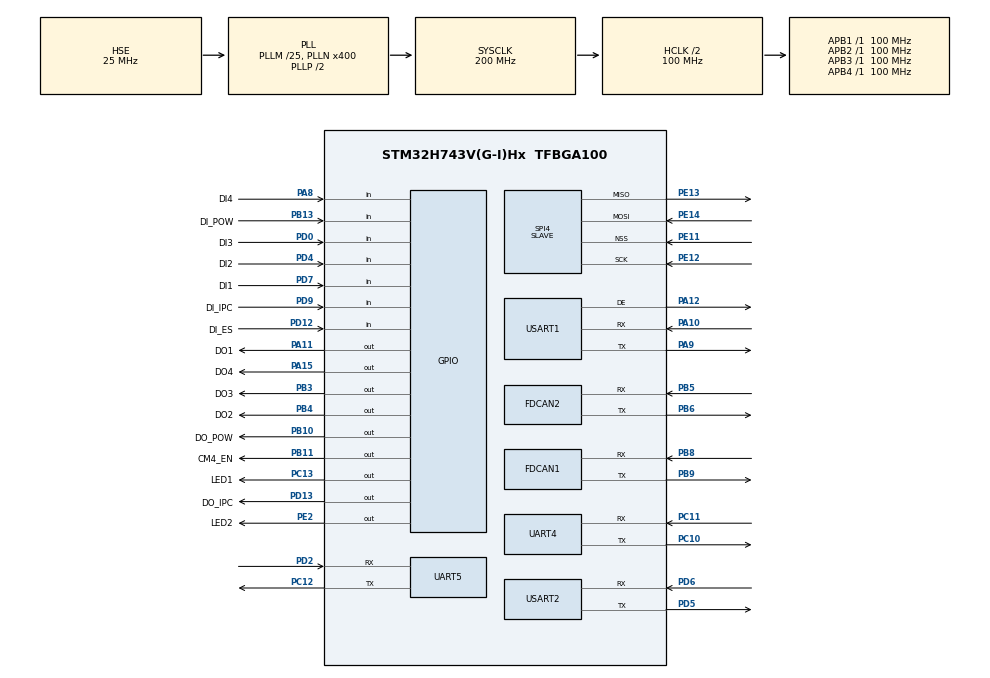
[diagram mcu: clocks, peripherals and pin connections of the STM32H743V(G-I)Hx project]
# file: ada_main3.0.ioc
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FDCAN1.DataPrescaler=5
FDCAN1.DataTimeSeg1=5
FDCAN1.DataTimeSeg2=4
FDCAN1.ExtFiltersNbr=10
FDCAN1.NominalPrescaler=5
FDCAN1.NominalTimeSeg1=5
FDCAN1.NominalTimeSeg2=4
FDCAN1.ProtocolException=DISABLE
FDCAN1.RxFifo0ElmtsNbr=1
FDCAN1.StdFiltersNbr=10
FDCAN1.TxBuffersNbr=0
FDCAN1.TxEventsNbr=0
FDCAN1.TxFifoQueueElmtsNbr=1
FDCAN2.DataPrescaler=5
FDCAN2.DataTimeSeg1=5
FDCAN2.DataTimeSeg2=4
FDCAN2.ExtFiltersNbr=10
FDCAN2.NominalPrescaler=5
FDCAN2.NominalTimeSeg1=5
FDCAN2.NominalTimeSeg2=4
FDCAN2.RxFifo0ElmtsNbr=1
FDCAN2.StdFiltersNbr=10
FDCAN2.TxFifoQueueElmtsNbr=1
Mcu.Family=STM32H7
Mcu.Name=STM32H743V(G-I)Hx
Mcu.Package=TFBGA100
NVIC.FDCAN1_IT0_IRQn=true\:1\:0\:true\:false\:true\:true\:true\:true
NVIC.FDCAN2_IT0_IRQn=true\:2\:0\:true\:false\:true\:true\:true\:true
NVIC.PriorityGroup=NVIC_PRIORITYGROUP_4
NVIC.TIM3_IRQn=true\:3\:0\:true\:false\:true\:true\:true\:true
NVIC.TIM4_IRQn=true\:4\:0\:true\:false\:true\:true\:true\:true
NVIC.USART2_IRQn=true\:0\:0\:false\:false\:true\:true\:true\:true
PA10.Mode=Asynchronous
PA10.Signal=USART1_RX
PA11.GPIO_Label=DO1
PA11.PinState=GPIO_PIN_SET
PA11.Signal=GPIO_Output
PA12.Mode=Hardware Flow Control (RS485)
PA12.Signal=USART1_DE
PA13\ (JTMS/SWDIO).Mode=Serial_Wire
PA13\ (JTMS/SWDIO).Signal=DEBUG_JTMS-SWDIO
PA14\ (JTCK/SWCLK).Mode=Serial_Wire
PA14\ (JTCK/SWCLK).Signal=DEBUG_JTCK-SWCLK
PA15\ (JTDI).GPIO_Label=DO4
PA15\ (JTDI).PinState=GPIO_PIN_SET
PA15\ (JTDI).Signal=GPIO_Output
PA8.GPIO_Label=DI4
PA8.Signal=GPIO_Input
PA9.Mode=Asynchronous
PA9.Signal=USART1_TX
PB10.GPIO_Label=DO_POW
PB10.Signal=GPIO_Output
PB11.GPIO_Label=CM4_EN
PB11.Signal=GPIO_Output
PB13.GPIO_Label=DI_POW
PB13.Signal=GPIO_Input
PB3\ (JTDO/TRACESWO).GPIO_Label=DO3
PB3\ (JTDO/TRACESWO).PinState=GPIO_PIN_SET
PB3\ (JTDO/TRACESWO).Signal=GPIO_Output
PB4\ (NJTRST).GPIO_Label=DO2
PB4\ (NJTRST).PinState=GPIO_PIN_SET
PB4\ (NJTRST).Signal=GPIO_Output
PB5.Mode=FDCAN_Activate
PB5.Signal=FDCAN2_RX
PB6.Mode=FDCAN_Activate
PB6.Signal=FDCAN2_TX
PB8.Mode=FDCAN_Activate
PB8.Signal=FDCAN1_RX
PB9.Mode=FDCAN_Activate
PB9.Signal=FDCAN1_TX
PC0.GPIO_Label=VBUS
PC0.Signal=ADCx_INP10
PC10.Mode=Asynchronous
PC10.Signal=UART4_TX
PC11.Mode=Asynchronous
PC11.Signal=UART4_RX
PC12.Mode=Asynchronous
PC12.Signal=UART5_TX
PC13.GPIO_Label=LED1
PC13.Signal=GPIO_Output
PD0.GPIO_Label=DI3
PD0.Signal=GPIO_Input
PD12.GPIO_Label=DI_ES
PD12.Signal=GPIO_Input
PD13.GPIO_Label=DO_IPC
PD13.Signal=GPIO_Output
PD2.Mode=Asynchronous
PD2.Signal=UART5_RX
PD4.GPIO_Label=DI2
PD4.Signal=GPIO_Input
PD5.Mode=Asynchronous
PD5.Signal=USART2_TX
PD6.Mode=Asynchronous
PD6.Signal=USART2_RX
PD7.GPIO_Label=DI1
PD7.Signal=GPIO_Input
PD9.GPIO_Label=DI_IPC
PD9.Signal=GPIO_Input
PE11.Mode=NSS_Signal_Hard_Input
PE11.Signal=SPI4_NSS
PE12.Mode=Full_Duplex_Slave
PE12.Signal=SPI4_SCK
PE13.Mode=Full_Duplex_Slave
PE13.Signal=SPI4_MISO
PE14.Mode=Full_Duplex_Slave
PE14.Signal=SPI4_MOSI
PE2.GPIO_Label=LED2
PE2.Signal=GPIO_Output
PH0-OSC_IN\ (PH0).Mode=HSE-External-Clock-Source
PH0-OSC_IN\ (PH0).Signal=RCC_OSC_IN
ProjectManager.HeapSize=0x200
ProjectManager.StackSize=0x400
ProjectManager.TargetToolchain=STM32CubeIDE
RCC.ADCFreq_Value=50390625
RCC.APB1Freq_Value=100000000
RCC.APB2Freq_Value=100000000
RCC.APB3Freq_Value=100000000
RCC.APB4Freq_Value=100000000
RCC.CortexFreq_Value=200000000
RCC.DIVM1=25
RCC.DIVN1=400
RCC.DIVQ1=8
RCC.DIVR1=4
RCC.HCLKFreq_Value=100000000
RCC.HPRE=RCC_HCLK_DIV2
RCC.PLLSourceVirtual=RCC_PLLSOURCE_HSE
RCC.SYSCLKFreq_VALUE=200000000
RCC.SYSCLKSource=RCC_SYSCLKSOURCE_PLLCLK
RCC.USBFreq_Value=50000000
SH.ADCx_INP10.0=ADC1_INP10
SPI4.Direction=SPI_DIRECTION_2LINES
SPI4.Mode=SPI_MODE_SLAVE
SPI4.VirtualNSS=VM_NSSHARD
SPI4.VirtualType=VM_SLAVE
TIM3.Period=10-1
TIM3.Prescaler=10000-1
TIM4.Period=5000-1
TIM4.Prescaler=10000-1
USART1.VirtualMode-Asynchronous=VM_ASYNC
USART1.VirtualMode-Hardware\ Flow\ Control\ (RS485)=VM_ASYNC
USART2.VirtualMode-Asynchronous=VM_ASYNC
VP_TIM3_VS_ClockSourceINT.Mode=Internal
VP_TIM4_VS_ClockSourceINT.Mode=Internal
board=custom

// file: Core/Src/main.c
/* USER CODE BEGIN Header */
/**
  ******************************************************************************
  * @file           : main.c
  * @brief          : Main program body
  ******************************************************************************
  * @attention
  *
  * <h2><center>&copy; Copyright (c) 2023 STMicroelectronics.
  * All rights reserved.</center></h2>
  *
  * This software component is licensed by ST under BSD 3-Clause license,
  * the "License"; You may not use this file except in compliance with the
  * License. You may obtain a copy of the License at:
  *                        opensource.org/licenses/BSD-3-Clause
  *
  ******************************************************************************
  */
/* USER CODE END Header */
#include "main.h"

/* USER CODE BEGIN Includes */
#include "stdio.h"
#include "string.h"
/* USER CODE END Includes */

FDCAN_HandleTypeDef hfdcan1;
FDCAN_HandleTypeDef hfdcan2;

SPI_HandleTypeDef hspi4;

TIM_HandleTypeDef htim3;
TIM_HandleTypeDef htim4;

UART_HandleTypeDef huart4;
UART_HandleTypeDef huart5;
UART_HandleTypeDef huart1;
UART_HandleTypeDef huart2;

/* USER CODE BEGIN PV */
//IWDG_HandleTypeDef hiwdg1;

//串口2
uint8_t U2RX=0;
uint8_t U2RxBuff[20];
uint8_t rx2Cnt=0;
uint8_t txLen=0;

////CANFD1
//FDCAN_TxHeaderTypeDef TxHeader;
//FDCAN_RxHeaderTypeDef RxHeader;
//uint8_t TxData[8];
//uint8_t RxData[8];
//void FDCAN1_Config(void);

//CANFD2
FDCAN_TxHeaderTypeDef TxHeader2;
FDCAN_RxHeaderTypeDef RxHeader2;
uint8_t TxData2[8];
uint8_t RxData2[8];
uint8_t RxData2Len=0;
void FDCAN2_Config(void);

Key_Tag skey;

all_state state = S0_IDLE;
uint8_t single_click_flag=0;
uint8_t double_click_flag=0;
uint8_t long_click_flag=0;

/* USER CODE END PV */

void SystemClock_Config(void);
static void MX_GPIO_Init(void);
static void MX_FDCAN1_Init(void);
static void MX_FDCAN2_Init(void);
static void MX_SPI4_Init(void);
static void MX_UART4_Init(void);
static void MX_UART5_Init(void);
static void MX_USART1_UART_Init(void);
static void MX_USART2_UART_Init(void);
static void MX_TIM4_Init(void);
static void MX_TIM3_Init(void);

/* USER CODE BEGIN 0 */

//printf
#ifdef __GNUC__
#define PUTCHAR_PROTOTYPE int __io_putchar(int ch)
PUTCHAR_PROTOTYPE
{
 HAL_UART_Transmit(&huart2, (uint8_t*)&ch, 1, HAL_MAX_DELAY);
 return ch;
}
#endif

/* USER CODE END 0 */

int main(void)
{

  /* MCU Configuration--------------------------------------------------------*/

  /* Reset of all peripherals, Initializes the Flash interface and the Systick. */
  HAL_Init();

  /* Configure the system clock */
  SystemClock_Config();

  /* Initialize all configured peripherals */
  MX_GPIO_Init();
  MX_FDCAN1_Init();
  MX_FDCAN2_Init();
  MX_SPI4_Init();
  MX_UART4_Init();
  MX_UART5_Init();
  MX_USART1_UART_Init();
  MX_USART2_UART_Init();
  MX_TIM4_Init();
  MX_TIM3_Init();
  /* USER CODE BEGIN 2 */

  //FDCAN1_Config();
  FDCAN2_Config();

  HAL_UART_Receive_IT(&huart2,&U2RX,1);
  HAL_TIM_Base_Start_IT(&htim3);
  HAL_TIM_Base_Start_IT(&htim4);

  HAL_GPIO_WritePin(CM4_EN_GPIO_Port, CM4_EN_Pin, 1);//0->1:restart

  DO4_OPEN;

  //***delete HAL_UART_Receive_IT(); __HAL_LOCK(huart)
  /* USER CODE END 2 */

  /* Infinite loop */
  /* USER CODE BEGIN WHILE */
  uint16_t cnt = 0;
  FDCAN_ProtocolStatusTypeDef ProtocolStatus;

  while (1)
  {
	  HAL_Delay(10);

	  key_scan();

	  advance();

	  if(DI4_BUTTON==0)//按钮被按下
	  {
		  //System_Reset();//stm32h7软件复位函数
		  CM4_EN_OPEN;//CM4复位
		  HAL_Delay(10);
		  CM4_EN_CLOSE;
	  }

	  cnt++;
	  if(cnt>=10)
	  {
		  cnt=0;
		  HAL_FDCAN_GetProtocolStatus(&hfdcan2,&ProtocolStatus);
		  if(ProtocolStatus.BusOff==1)
		  {
			  MX_FDCAN2_Init();
			  FDCAN2_Config();
		  }
	  }

    /* USER CODE END WHILE */

  }
}

void SystemClock_Config(void)
{
  RCC_OscInitTypeDef RCC_OscInitStruct = {0};
  RCC_ClkInitTypeDef RCC_ClkInitStruct = {0};
  RCC_PeriphCLKInitTypeDef PeriphClkInitStruct = {0};

  /** Supply configuration update enable
  */
  HAL_PWREx_ConfigSupply(PWR_LDO_SUPPLY);
  /** Configure the main internal regulator output voltage
  */
  __HAL_PWR_VOLTAGESCALING_CONFIG(PWR_REGULATOR_VOLTAGE_SCALE3);

  while(!__HAL_PWR_GET_FLAG(PWR_FLAG_VOSRDY)) {}
  /** Initializes the RCC Oscillators according to the specified parameters
  * in the RCC_OscInitTypeDef structure.
  */
  RCC_OscInitStruct.OscillatorType = RCC_OSCILLATORTYPE_HSE;
  RCC_OscInitStruct.HSEState = RCC_HSE_BYPASS;
  RCC_OscInitStruct.PLL.PLLState = RCC_PLL_ON;
  RCC_OscInitStruct.PLL.PLLSource = RCC_PLLSOURCE_HSE;
  RCC_OscInitStruct.PLL.PLLM = 25;
  RCC_OscInitStruct.PLL.PLLN = 400;
  RCC_OscInitStruct.PLL.PLLP = 2;
  RCC_OscInitStruct.PLL.PLLQ = 8;
  RCC_OscInitStruct.PLL.PLLR = 4;
  RCC_OscInitStruct.PLL.PLLRGE = RCC_PLL1VCIRANGE_0;
  RCC_OscInitStruct.PLL.PLLVCOSEL = RCC_PLL1VCOWIDE;
  RCC_OscInitStruct.PLL.PLLFRACN = 0;
  if (HAL_RCC_OscConfig(&RCC_OscInitStruct) != HAL_OK)
  {
    Error_Handler();
  }
  /** Initializes the CPU, AHB and APB buses clocks
  */
  RCC_ClkInitStruct.ClockType = RCC_CLOCKTYPE_HCLK|RCC_CLOCKTYPE_SYSCLK
                              |RCC_CLOCKTYPE_PCLK1|RCC_CLOCKTYPE_PCLK2
                              |RCC_CLOCKTYPE_D3PCLK1|RCC_CLOCKTYPE_D1PCLK1;
  RCC_ClkInitStruct.SYSCLKSource = RCC_SYSCLKSOURCE_PLLCLK;
  RCC_ClkInitStruct.SYSCLKDivider = RCC_SYSCLK_DIV1;
  RCC_ClkInitStruct.AHBCLKDivider = RCC_HCLK_DIV2;
  RCC_ClkInitStruct.APB3CLKDivider = RCC_APB3_DIV1;
  RCC_ClkInitStruct.APB1CLKDivider = RCC_APB1_DIV1;
  RCC_ClkInitStruct.APB2CLKDivider = RCC_APB2_DIV1;
  RCC_ClkInitStruct.APB4CLKDivider = RCC_APB4_DIV1;

  if (HAL_RCC_ClockConfig(&RCC_ClkInitStruct, FLASH_LATENCY_1) != HAL_OK)
  {
    Error_Handler();
  }
  PeriphClkInitStruct.PeriphClockSelection = RCC_PERIPHCLK_USART2|RCC_PERIPHCLK_UART4
                              |RCC_PERIPHCLK_FDCAN|RCC_PERIPHCLK_USART1
                              |RCC_PERIPHCLK_UART5|RCC_PERIPHCLK_SPI4;
  PeriphClkInitStruct.Spi45ClockSelection = RCC_SPI45CLKSOURCE_D2PCLK1;
  PeriphClkInitStruct.FdcanClockSelection = RCC_FDCANCLKSOURCE_PLL;
  PeriphClkInitStruct.Usart234578ClockSelection = RCC_USART234578CLKSOURCE_D2PCLK1;
  PeriphClkInitStruct.Usart16ClockSelection = RCC_USART16CLKSOURCE_D2PCLK2;
  if (HAL_RCCEx_PeriphCLKConfig(&PeriphClkInitStruct) != HAL_OK)
  {
    Error_Handler();
  }
}

static void MX_FDCAN1_Init(void)
{

  /* USER CODE BEGIN FDCAN1_Init 1 */

  //娉㈢壒鐜囪绠楀叕锟�???????????????
  //BaudRate = CLK / ((DTSEG1+DTSEG2 + 1) * DBPR)
  //CLK=50MHz銆丏TSEG1=5銆丏TSEG2=4銆丏BPR=5銆丅audRate=1M
  /* USER CODE END FDCAN1_Init 1 */
  hfdcan1.Instance = FDCAN1;
  hfdcan1.Init.FrameFormat = FDCAN_FRAME_CLASSIC;
  hfdcan1.Init.Mode = FDCAN_MODE_NORMAL;
  hfdcan1.Init.AutoRetransmission = DISABLE;
  hfdcan1.Init.TransmitPause = DISABLE;
  hfdcan1.Init.ProtocolException = DISABLE;
  hfdcan1.Init.NominalPrescaler = 5;
  hfdcan1.Init.NominalSyncJumpWidth = 1;
  hfdcan1.Init.NominalTimeSeg1 = 5;
  hfdcan1.Init.NominalTimeSeg2 = 4;
  hfdcan1.Init.DataPrescaler = 5;
  hfdcan1.Init.DataSyncJumpWidth = 1;
  hfdcan1.Init.DataTimeSeg1 = 5;
  hfdcan1.Init.DataTimeSeg2 = 4;
  hfdcan1.Init.MessageRAMOffset = 0;
  hfdcan1.Init.StdFiltersNbr = 10;
  hfdcan1.Init.ExtFiltersNbr = 10;
  hfdcan1.Init.RxFifo0ElmtsNbr = 1;
  hfdcan1.Init.RxFifo0ElmtSize = FDCAN_DATA_BYTES_8;
  hfdcan1.Init.RxFifo1ElmtsNbr = 0;
  hfdcan1.Init.RxFifo1ElmtSize = FDCAN_DATA_BYTES_8;
  hfdcan1.Init.RxBuffersNbr = 0;
  hfdcan1.Init.RxBufferSize = FDCAN_DATA_BYTES_8;
  hfdcan1.Init.TxEventsNbr = 0;
  hfdcan1.Init.TxBuffersNbr = 0;
  hfdcan1.Init.TxFifoQueueElmtsNbr = 1;
  hfdcan1.Init.TxFifoQueueMode = FDCAN_TX_FIFO_OPERATION;
  hfdcan1.Init.TxElmtSize = FDCAN_DATA_BYTES_8;
  if (HAL_FDCAN_Init(&hfdcan1) != HAL_OK)
  {
    Error_Handler();
  }

}

static void MX_FDCAN2_Init(void)
{

  hfdcan2.Instance = FDCAN2;
  hfdcan2.Init.FrameFormat = FDCAN_FRAME_CLASSIC;
  hfdcan2.Init.Mode = FDCAN_MODE_NORMAL;
  hfdcan2.Init.AutoRetransmission = DISABLE;
  hfdcan2.Init.TransmitPause = DISABLE;
  hfdcan2.Init.ProtocolException = DISABLE;
  hfdcan2.Init.NominalPrescaler = 50;
  hfdcan2.Init.NominalSyncJumpWidth = 1;
  hfdcan2.Init.NominalTimeSeg1 = 5;
  hfdcan2.Init.NominalTimeSeg2 = 4;
  hfdcan2.Init.DataPrescaler = 5;
  hfdcan2.Init.DataSyncJumpWidth = 1;
  hfdcan2.Init.DataTimeSeg1 = 5;
  hfdcan2.Init.DataTimeSeg2 = 4;
  hfdcan2.Init.MessageRAMOffset = 0;
  hfdcan2.Init.StdFiltersNbr = 10;
  hfdcan2.Init.ExtFiltersNbr = 10;
  hfdcan2.Init.RxFifo0ElmtsNbr = 1;
  hfdcan2.Init.RxFifo0ElmtSize = FDCAN_DATA_BYTES_8;
  hfdcan2.Init.RxFifo1ElmtsNbr = 0;
  hfdcan2.Init.RxFifo1ElmtSize = FDCAN_DATA_BYTES_8;
  hfdcan2.Init.RxBuffersNbr = 0;
  hfdcan2.Init.RxBufferSize = FDCAN_DATA_BYTES_8;
  hfdcan2.Init.TxEventsNbr = 0;
  hfdcan2.Init.TxBuffersNbr = 0;
  hfdcan2.Init.TxFifoQueueElmtsNbr = 1;
  hfdcan2.Init.TxFifoQueueMode = FDCAN_TX_FIFO_OPERATION;
  hfdcan2.Init.TxElmtSize = FDCAN_DATA_BYTES_8;
  if (HAL_FDCAN_Init(&hfdcan2) != HAL_OK)
  {
    Error_Handler();
  }

}

static void MX_SPI4_Init(void)
{

  /* SPI4 parameter configuration*/
  hspi4.Instance = SPI4;
  hspi4.Init.Mode = SPI_MODE_SLAVE;
  hspi4.Init.Direction = SPI_DIRECTION_2LINES;
  hspi4.Init.DataSize = SPI_DATASIZE_4BIT;
  hspi4.Init.CLKPolarity = SPI_POLARITY_LOW;
  hspi4.Init.CLKPhase = SPI_PHASE_1EDGE;
  hspi4.Init.NSS = SPI_NSS_HARD_INPUT;
  hspi4.Init.FirstBit = SPI_FIRSTBIT_MSB;
  hspi4.Init.TIMode = SPI_TIMODE_DISABLE;
  hspi4.Init.CRCCalculation = SPI_CRCCALCULATION_DISABLE;
  hspi4.Init.CRCPolynomial = 0x0;
  hspi4.Init.NSSPMode = SPI_NSS_PULSE_DISABLE;
  hspi4.Init.NSSPolarity = SPI_NSS_POLARITY_LOW;
  hspi4.Init.FifoThreshold = SPI_FIFO_THRESHOLD_01DATA;
  hspi4.Init.TxCRCInitializationPattern = SPI_CRC_INITIALIZATION_ALL_ZERO_PATTERN;
  hspi4.Init.RxCRCInitializationPattern = SPI_CRC_INITIALIZATION_ALL_ZERO_PATTERN;
  hspi4.Init.MasterSSIdleness = SPI_MASTER_SS_IDLENESS_00CYCLE;
  hspi4.Init.MasterInterDataIdleness = SPI_MASTER_INTERDATA_IDLENESS_00CYCLE;
  hspi4.Init.MasterReceiverAutoSusp = SPI_MASTER_RX_AUTOSUSP_DISABLE;
  hspi4.Init.MasterKeepIOState = SPI_MASTER_KEEP_IO_STATE_DISABLE;
  hspi4.Init.IOSwap = SPI_IO_SWAP_DISABLE;
  if (HAL_SPI_Init(&hspi4) != HAL_OK)
  {
    Error_Handler();
  }

}

static void MX_TIM3_Init(void)
{

  TIM_ClockConfigTypeDef sClockSourceConfig = {0};
  TIM_MasterConfigTypeDef sMasterConfig = {0};

  /* USER CODE BEGIN TIM3_Init 1 */
  //鍛ㄦ湡锛滱PB1 Timer Clocks/Prescaler/Period
  //APB1 Timer Clocks=100MHz銆丳rescaler=10000銆丳eriod=5000銆佸懆锟�??=1/(100M/10000/100)=1ms
  /* USER CODE END TIM3_Init 1 */
  htim3.Instance = TIM3;
  htim3.Init.Prescaler = 10000-1;
  htim3.Init.CounterMode = TIM_COUNTERMODE_UP;
  htim3.Init.Period = 10-1;
  htim3.Init.ClockDivision = TIM_CLOCKDIVISION_DIV1;
  htim3.Init.AutoReloadPreload = TIM_AUTORELOAD_PRELOAD_DISABLE;
  if (HAL_TIM_Base_Init(&htim3) != HAL_OK)
  {
    Error_Handler();
  }
  sClockSourceConfig.ClockSource = TIM_CLOCKSOURCE_INTERNAL;
  if (HAL_TIM_ConfigClockSource(&htim3, &sClockSourceConfig) != HAL_OK)
  {
    Error_Handler();
  }
  sMasterConfig.MasterOutputTrigger = TIM_TRGO_RESET;
  sMasterConfig.MasterSlaveMode = TIM_MASTERSLAVEMODE_DISABLE;
  if (HAL_TIMEx_MasterConfigSynchronization(&htim3, &sMasterConfig) != HAL_OK)
  {
    Error_Handler();
  }

}

static void MX_TIM4_Init(void)
{

  TIM_ClockConfigTypeDef sClockSourceConfig = {0};
  TIM_MasterConfigTypeDef sMasterConfig = {0};

  /* USER CODE BEGIN TIM4_Init 1 */
  //鍛ㄦ湡锛滱PB1 Timer Clocks/Prescaler/Period
  //APB1 Timer Clocks=100MHz銆丳rescaler=10000銆丳eriod=5000銆佸懆锟�????????????=1/(100M/10000/5000)=500ms
  /* USER CODE END TIM4_Init 1 */
  htim4.Instance = TIM4;
  htim4.Init.Prescaler = 10000-1;
  htim4.Init.CounterMode = TIM_COUNTERMODE_UP;
  htim4.Init.Period = 5000-1;
  htim4.Init.ClockDivision = TIM_CLOCKDIVISION_DIV1;
  htim4.Init.AutoReloadPreload = TIM_AUTORELOAD_PRELOAD_DISABLE;
  if (HAL_TIM_Base_Init(&htim4) != HAL_OK)
  {
    Error_Handler();
  }
  sClockSourceConfig.ClockSource = TIM_CLOCKSOURCE_INTERNAL;
  if (HAL_TIM_ConfigClockSource(&htim4, &sClockSourceConfig) != HAL_OK)
  {
    Error_Handler();
  }
  sMasterConfig.MasterOutputTrigger = TIM_TRGO_RESET;
  sMasterConfig.MasterSlaveMode = TIM_MASTERSLAVEMODE_DISABLE;
  if (HAL_TIMEx_MasterConfigSynchronization(&htim4, &sMasterConfig) != HAL_OK)
  {
    Error_Handler();
  }

}

static void MX_UART4_Init(void)
{

  huart4.Instance = UART4;
  huart4.Init.BaudRate = 115200;
  huart4.Init.WordLength = UART_WORDLENGTH_8B;
  huart4.Init.StopBits = UART_STOPBITS_1;
  huart4.Init.Parity = UART_PARITY_NONE;
  huart4.Init.Mode = UART_MODE_TX_RX;
  huart4.Init.HwFlowCtl = UART_HWCONTROL_NONE;
  huart4.Init.OverSampling = UART_OVERSAMPLING_16;
  huart4.Init.OneBitSampling = UART_ONE_BIT_SAMPLE_DISABLE;
  huart4.Init.ClockPrescaler = UART_PRESCALER_DIV1;
  huart4.AdvancedInit.AdvFeatureInit = UART_ADVFEATURE_NO_INIT;
  if (HAL_UART_Init(&huart4) != HAL_OK)
  {
    Error_Handler();
  }
  if (HAL_UARTEx_SetTxFifoThreshold(&huart4, UART_TXFIFO_THRESHOLD_1_8) != HAL_OK)
  {
    Error_Handler();
  }
  if (HAL_UARTEx_SetRxFifoThreshold(&huart4, UART_RXFIFO_THRESHOLD_1_8) != HAL_OK)
  {
    Error_Handler();
  }
  if (HAL_UARTEx_DisableFifoMode(&huart4) != HAL_OK)
  {
    Error_Handler();
  }

}

static void MX_UART5_Init(void)
{

  huart5.Instance = UART5;
  huart5.Init.BaudRate = 115200;
  huart5.Init.WordLength = UART_WORDLENGTH_8B;
  huart5.Init.StopBits = UART_STOPBITS_1;
  huart5.Init.Parity = UART_PARITY_NONE;
  huart5.Init.Mode = UART_MODE_TX_RX;
  huart5.Init.HwFlowCtl = UART_HWCONTROL_NONE;
  huart5.Init.OverSampling = UART_OVERSAMPLING_16;
  huart5.Init.OneBitSampling = UART_ONE_BIT_SAMPLE_DISABLE;
  huart5.Init.ClockPrescaler = UART_PRESCALER_DIV1;
  huart5.AdvancedInit.AdvFeatureInit = UART_ADVFEATURE_NO_INIT;
  if (HAL_UART_Init(&huart5) != HAL_OK)
  {
    Error_Handler();
  }
  if (HAL_UARTEx_SetTxFifoThreshold(&huart5, UART_TXFIFO_THRESHOLD_1_8) != HAL_OK)
  {
    Error_Handler();
  }
  if (HAL_UARTEx_SetRxFifoThreshold(&huart5, UART_RXFIFO_THRESHOLD_1_8) != HAL_OK)
  {
    Error_Handler();
  }
  if (HAL_UARTEx_DisableFifoMode(&huart5) != HAL_OK)
  {
    Error_Handler();
  }

}

static void MX_USART1_UART_Init(void)
{

  huart1.Instance = USART1;
  huart1.Init.BaudRate = 115200;
  huart1.Init.WordLength = UART_WORDLENGTH_8B;
  huart1.Init.StopBits = UART_STOPBITS_1;
  huart1.Init.Parity = UART_PARITY_NONE;
  huart1.Init.Mode = UART_MODE_TX_RX;
  huart1.Init.HwFlowCtl = UART_HWCONTROL_NONE;
  huart1.Init.OverSampling = UART_OVERSAMPLING_16;
  huart1.Init.OneBitSampling = UART_ONE_BIT_SAMPLE_DISABLE;
  huart1.Init.ClockPrescaler = UART_PRESCALER_DIV1;
  huart1.AdvancedInit.AdvFeatureInit = UART_ADVFEATURE_NO_INIT;
  if (HAL_RS485Ex_Init(&huart1, UART_DE_POLARITY_HIGH, 0, 0) != HAL_OK)
  {
    Error_Handler();
  }
  if (HAL_UARTEx_SetTxFifoThreshold(&huart1, UART_TXFIFO_THRESHOLD_1_8) != HAL_OK)
  {
    Error_Handler();
  }
  if (HAL_UARTEx_SetRxFifoThreshold(&huart1, UART_RXFIFO_THRESHOLD_1_8) != HAL_OK)
  {
    Error_Handler();
  }
  if (HAL_UARTEx_DisableFifoMode(&huart1) != HAL_OK)
  {
    Error_Handler();
  }

}

static void MX_USART2_UART_Init(void)
{

  huart2.Instance = USART2;
  huart2.Init.BaudRate = 115200;
  huart2.Init.WordLength = UART_WORDLENGTH_8B;
  huart2.Init.StopBits = UART_STOPBITS_1;
  huart2.Init.Parity = UART_PARITY_NONE;
  huart2.Init.Mode = UART_MODE_TX_RX;
  huart2.Init.HwFlowCtl = UART_HWCONTROL_NONE;
  huart2.Init.OverSampling = UART_OVERSAMPLING_16;
  huart2.Init.OneBitSampling = UART_ONE_BIT_SAMPLE_DISABLE;
  huart2.Init.ClockPrescaler = UART_PRESCALER_DIV1;
  huart2.AdvancedInit.AdvFeatureInit = UART_ADVFEATURE_NO_INIT;
  if (HAL_UART_Init(&huart2) != HAL_OK)
  {
    Error_Handler();
  }
  if (HAL_UARTEx_SetTxFifoThreshold(&huart2, UART_TXFIFO_THRESHOLD_1_8) != HAL_OK)
  {
    Error_Handler();
  }
  if (HAL_UARTEx_SetRxFifoThreshold(&huart2, UART_RXFIFO_THRESHOLD_1_8) != HAL_OK)
  {
    Error_Handler();
  }
  if (HAL_UARTEx_DisableFifoMode(&huart2) != HAL_OK)
  {
    Error_Handler();
  }

}

static void MX_GPIO_Init(void)
{
  GPIO_InitTypeDef GPIO_InitStruct = {0};

  /* GPIO Ports Clock Enable */
  __HAL_RCC_GPIOC_CLK_ENABLE();
  __HAL_RCC_GPIOE_CLK_ENABLE();
  __HAL_RCC_GPIOB_CLK_ENABLE();
  __HAL_RCC_GPIOA_CLK_ENABLE();
  __HAL_RCC_GPIOD_CLK_ENABLE();
  __HAL_RCC_GPIOH_CLK_ENABLE();

  /*Configure GPIO pin Output Level */
  HAL_GPIO_WritePin(LED1_GPIO_Port, LED1_Pin, GPIO_PIN_RESET);

  /*Configure GPIO pin Output Level */
  HAL_GPIO_WritePin(LED2_GPIO_Port, LED2_Pin, GPIO_PIN_RESET);

  /*Configure GPIO pin Output Level */
  HAL_GPIO_WritePin(GPIOB, DO2_Pin|DO3_Pin, GPIO_PIN_SET);

  /*Configure GPIO pin Output Level */
  HAL_GPIO_WritePin(GPIOA, DO4_Pin|DO1_Pin, GPIO_PIN_SET);

  /*Configure GPIO pin Output Level */
  HAL_GPIO_WritePin(GPIOB, DO_POW_Pin|CM4_EN_Pin, GPIO_PIN_RESET);

  /*Configure GPIO pin Output Level */
  HAL_GPIO_WritePin(DO_IPC_GPIO_Port, DO_IPC_Pin, GPIO_PIN_RESET);

  /*Configure GPIO pin : LED1_Pin */
  GPIO_InitStruct.Pin = LED1_Pin;
  GPIO_InitStruct.Mode = GPIO_MODE_OUTPUT_PP;
  GPIO_InitStruct.Pull = GPIO_NOPULL;
  GPIO_InitStruct.Speed = GPIO_SPEED_FREQ_LOW;
  HAL_GPIO_Init(LED1_GPIO_Port, &GPIO_InitStruct);

  /*Configure GPIO pin : LED2_Pin */
  GPIO_InitStruct.Pin = LED2_Pin;
  GPIO_InitStruct.Mode = GPIO_MODE_OUTPUT_PP;
  GPIO_InitStruct.Pull = GPIO_NOPULL;
  GPIO_InitStruct.Speed = GPIO_SPEED_FREQ_LOW;
  HAL_GPIO_Init(LED2_GPIO_Port, &GPIO_InitStruct);

  /*Configure GPIO pins : DO2_Pin DO3_Pin DO_POW_Pin CM4_EN_Pin */
  GPIO_InitStruct.Pin = DO2_Pin|DO3_Pin|DO_POW_Pin|CM4_EN_Pin;
  GPIO_InitStruct.Mode = GPIO_MODE_OUTPUT_PP;
  GPIO_InitStruct.Pull = GPIO_NOPULL;
  GPIO_InitStruct.Speed = GPIO_SPEED_FREQ_LOW;
  HAL_GPIO_Init(GPIOB, &GPIO_InitStruct);

  /*Configure GPIO pins : DO4_Pin DO1_Pin */
  GPIO_InitStruct.Pin = DO4_Pin|DO1_Pin;
  GPIO_InitStruct.Mode = GPIO_MODE_OUTPUT_PP;
  GPIO_InitStruct.Pull = GPIO_NOPULL;
  GPIO_InitStruct.Speed = GPIO_SPEED_FREQ_LOW;
  HAL_GPIO_Init(GPIOA, &GPIO_InitStruct);

  /*Configure GPIO pins : DI1_Pin DI2_Pin DI3_Pin DI_IPC_Pin
                           DI_ES_Pin */
  GPIO_InitStruct.Pin = DI1_Pin|DI2_Pin|DI3_Pin|DI_IPC_Pin
                          |DI_ES_Pin;
  GPIO_InitStruct.Mode = GPIO_MODE_INPUT;
  GPIO_InitStruct.Pull = GPIO_NOPULL;
  HAL_GPIO_Init(GPIOD, &GPIO_InitStruct);

  /*Configure GPIO pin : DI4_Pin */
  GPIO_InitStruct.Pin = DI4_Pin;
  GPIO_InitStruct.Mode = GPIO_MODE_INPUT;
  GPIO_InitStruct.Pull = GPIO_NOPULL;
  HAL_GPIO_Init(DI4_GPIO_Port, &GPIO_InitStruct);

  /*Configure GPIO pin : VBUS_Pin */
  GPIO_InitStruct.Pin = VBUS_Pin;
  GPIO_InitStruct.Mode = GPIO_MODE_ANALOG;
  GPIO_InitStruct.Pull = GPIO_NOPULL;
  HAL_GPIO_Init(VBUS_GPIO_Port, &GPIO_InitStruct);

  /*Configure GPIO pin : DI_POW_Pin */
  GPIO_InitStruct.Pin = DI_POW_Pin;
  GPIO_InitStruct.Mode = GPIO_MODE_INPUT;
  GPIO_InitStruct.Pull = GPIO_NOPULL;
  HAL_GPIO_Init(DI_POW_GPIO_Port, &GPIO_InitStruct);

  /*Configure GPIO pin : DO_IPC_Pin */
  GPIO_InitStruct.Pin = DO_IPC_Pin;
  GPIO_InitStruct.Mode = GPIO_MODE_OUTPUT_PP;
  GPIO_InitStruct.Pull = GPIO_NOPULL;
  GPIO_InitStruct.Speed = GPIO_SPEED_FREQ_LOW;
  HAL_GPIO_Init(DO_IPC_GPIO_Port, &GPIO_InitStruct);

}

/* USER CODE BEGIN 4 */
uint8_t control_buf[1];
void advance()
{
	//control_buf[0]=state;
	switch(state){

		case S0_IDLE:
			S0_idle_action();

			break;

		case S1_STOP:
			S1_stop_action();

			break;

		case S2_RUN:
			S2_run_action();

			break;

		case S3_ERROR:
			S3_error_action();

			break;

		default:
			break;
	}
}

uint8_t greenLed_twinkle=0;
uint8_t redLed_twinkle=0;
void S0_idle_action(void)//待机状�??
{
	POW_CLOSE;//48V断电

	allLed_close();//灯灭
	if(single_click_flag==1)
	{
		clear_allclick_flag();
		state=S1_STOP;
	}
//	else if(DI3_BUTTON==0)
//	{
//		//CM4复位
//	}
}

void S1_stop_action(void)//停止状�??
{
	POW_OPEN;//48V上电
	green_light();//绿灯�?
	if(single_click_flag==1)
	{
		clear_allclick_flag();
		state=S2_RUN;
	}
	if(long_click_flag==1)
	{
		clear_allclick_flag();
		state=S0_IDLE;
	}
//	if(double_click_flag==1)
//	{
//		double_click_flag=0;
//		LED2_T;
//		//示教模式
//		greenRed_twinkle();//红绿灯闪
//
//	}
}

void S2_run_action(void)//运行状�??
{
	green_twinkle();//绿灯�?
	if(STOP_KEY==0)//停止按钮按下
	{
		state=S1_STOP;
	}
//	else if()
//	{
//	    red_twinkle();红灯�?
//	    state=S1_STOP;
//	}
}

void S3_error_action(void)//错误状�??
{

}

void clear_allclick_flag()
{
	single_click_flag=0;
	double_click_flag=0;
	long_click_flag=0;
}

void green_light()//绿灯�?
{
	RUN_LED_OPEN;
	//STOP_LED_CLOSE;
	redLed_twinkle=0;
	greenLed_twinkle=0;
}

void red_light()//红灯�?
{
	RUN_LED_CLOSE;
	//STOP_LED_OPEN;
	redLed_twinkle=0;
	greenLed_twinkle=0;
}

void green_twinkle()//绿灯�?
{
	//STOP_LED_CLOSE;
	redLed_twinkle=0;
	greenLed_twinkle=1;
}

void red_twinkle()//红灯�?
{
	RUN_LED_CLOSE;
	redLed_twinkle=1;
	greenLed_twinkle=0;
}

void greenRed_twinkle()//红绿灯闪
{
	redLed_twinkle=1;
	greenLed_twinkle=1;
}

void allLed_close()//灯灭
{
	RUN_LED_CLOSE;
	//STOP_LED_CLOSE;
	redLed_twinkle=0;
	greenLed_twinkle=0;
}

void decode(uint8_t *data,uint8_t len)
{
	if(len!=4)
	{
		return;
	}
	if(data[0]!=0)
	{
		RUN_LED_CLOSE;	//240308 add
		STOP_LED_OPEN;//红灯亮代表错�?
	}
	else
	{
		RUN_LED_OPEN;	//240308 add
		STOP_LED_CLOSE;
	}

	CAN2_MESSAGE_TX(&data[1]);//取地�?�?后发8个字�?
}
//串口2中断回调函数
uint8_t flag80=0;
void HAL_UART_RxCpltCallback(UART_HandleTypeDef *huart)
{
	//DO3_T;
	if(huart->Instance == huart2.Instance)
	{
		if(flag80)
		{
			flag80 = 0;
			switch(U2RX)
			{
				case 0x00:
					U2RxBuff[rx2Cnt++] = 0x80;
					break;

				case 0xFF:
					rx2Cnt=0;
					break;

				case 0xFE:
					//DO4_T;
					decode(U2RxBuff,rx2Cnt);
					rx2Cnt=0;
					break;

				default:
					break;
			}
		}
		else if(U2RX==0x80)
		{
			flag80 = 1;
		}
		else// if(wait_end)
		{
			U2RxBuff[rx2Cnt++] = U2RX;
			if(rx2Cnt>15) rx2Cnt=0;
		}
	}
	HAL_UART_Receive_IT(&huart2, &U2RX, 1);
}

////FDCAN1配置函数
//void FDCAN1_Config(void)
//{
//  FDCAN_FilterTypeDef sFilterConfig;
//
//  /* Configure Rx filter 鎺ユ敹璁剧疆锛岃繖閲屾寚瀹氭帴鏀剁殑CANID*/
//  sFilterConfig.IdType = FDCAN_EXTENDED_ID;
//  sFilterConfig.FilterIndex = 0;
//  sFilterConfig.FilterType = FDCAN_FILTER_MASK;
//  sFilterConfig.FilterConfig = FDCAN_FILTER_TO_RXFIFO0;
//  sFilterConfig.FilterID1 = 20000;
//  sFilterConfig.FilterID2 = 0xFF;
//  if (HAL_FDCAN_ConfigFilter(&hfdcan1, &sFilterConfig) != HAL_OK)
//  {
//    Error_Handler();
//  }
//  /* Configure global filter:
//     Filter all remote frames with STD and EXT ID
//     Reject non matching frames with STD ID and EXT ID */
//  if (HAL_FDCAN_ConfigGlobalFilter(&hfdcan1, FDCAN_REJECT, FDCAN_REJECT, FDCAN_FILTER_REMOTE, FDCAN_FILTER_REMOTE) != HAL_OK)
//  {
//    Error_Handler();
//  }
//
//  /* Start the FDCAN module */
//  if (HAL_FDCAN_Start(&hfdcan1) != HAL_OK)
//  {
//    Error_Handler();
//  }
//
//  if (HAL_FDCAN_ActivateNotification(&hfdcan1, FDCAN_IT_RX_FIFO0_NEW_MESSAGE, 0) != HAL_OK)
//  {
//    Error_Handler();
//  }
//}

//FDCAN2配置函数
void FDCAN2_Config(void)
{
  FDCAN_FilterTypeDef sFilterConfig;

  /* Configure Rx filter 鎺ユ敹璁剧疆锛岃繖閲屾寚瀹氭帴鏀剁殑CANID*/
  sFilterConfig.IdType = FDCAN_EXTENDED_ID;
  sFilterConfig.FilterIndex = 0;
  sFilterConfig.FilterType = FDCAN_FILTER_MASK;
  sFilterConfig.FilterConfig = FDCAN_FILTER_TO_RXFIFO0;
  sFilterConfig.FilterID1 = 20000;
  sFilterConfig.FilterID2 = 0xFF;
  if (HAL_FDCAN_ConfigFilter(&hfdcan2, &sFilterConfig) != HAL_OK)
  {
    Error_Handler();
  }
  /* Configure global filter:
     Filter all remote frames with STD and EXT ID
     Reject non matching frames with STD ID and EXT ID */
  if (HAL_FDCAN_ConfigGlobalFilter(&hfdcan2, FDCAN_REJECT, FDCAN_REJECT, FDCAN_FILTER_REMOTE, FDCAN_FILTER_REMOTE) != HAL_OK)
  {
    Error_Handler();
  }

  /* Start the FDCAN module */
  if (HAL_FDCAN_Start(&hfdcan2) != HAL_OK)
  {
    Error_Handler();
  }

  if (HAL_FDCAN_ActivateNotification(&hfdcan2, FDCAN_IT_RX_FIFO0_NEW_MESSAGE, 0) != HAL_OK)
  {
    Error_Handler();
  }
}

////CANFD1 send
//void CAN_MESSAGE_TX(uint8_t *_DataBuf)
//{
//	TxHeader.Identifier = 20000;
//	TxHeader.IdType = FDCAN_EXTENDED_ID;
//	TxHeader.TxFrameType = FDCAN_DATA_FRAME;
//	TxHeader.DataLength = FDCAN_DLC_BYTES_8;
//	TxHeader.ErrorStateIndicator = FDCAN_ESI_ACTIVE;
//	TxHeader.BitRateSwitch = FDCAN_BRS_OFF;
//	TxHeader.FDFormat = FDCAN_CLASSIC_CAN;
//	TxHeader.TxEventFifoControl = FDCAN_NO_TX_EVENTS;
//	TxHeader.MessageMarker = 0;
//
//	if(HAL_FDCAN_AddMessageToTxFifoQ(&hfdcan1, &TxHeader, _DataBuf) != HAL_OK)
//	{
//		LED2_T;
//		//Error_Handler();
//	}
//}

//CANFD2 send
void CAN2_MESSAGE_TX(uint8_t *_DataBuf2)
{
	TxHeader2.Identifier = 20000;
	TxHeader2.IdType = FDCAN_EXTENDED_ID;
	TxHeader2.TxFrameType = FDCAN_DATA_FRAME;
	TxHeader2.DataLength = FDCAN_DLC_BYTES_8;
	TxHeader2.ErrorStateIndicator = FDCAN_ESI_ACTIVE;
	TxHeader2.BitRateSwitch = FDCAN_BRS_OFF;
	TxHeader2.FDFormat = FDCAN_CLASSIC_CAN;
	TxHeader2.TxEventFifoControl = FDCAN_NO_TX_EVENTS;
	TxHeader2.MessageMarker = 0;

	if(HAL_FDCAN_AddMessageToTxFifoQ(&hfdcan2, &TxHeader2, _DataBuf2) != HAL_OK)
	{
		//LED2_T;
		//Error_Handler();
	}

}
//CAN中断接收回调函数
uint8_t head_buf[2]={0x80,0xFF};
uint8_t end_buf[2]={0x80,0xFE};
uint8_t special_buf[2]={0x80,0x00};
void HAL_FDCAN_RxFifo0Callback(FDCAN_HandleTypeDef *hfdcan, uint32_t RxFifo0ITs)
{
  if((RxFifo0ITs & FDCAN_IT_RX_FIFO0_NEW_MESSAGE) != RESET)
  {
//	  if(hfdcan == &hfdcan1)//CANFD1中断
//	  {
//		  HAL_FDCAN_GetRxMessage(&hfdcan1,FDCAN_RX_FIFO0,&RxHeader,RxData);
//
//		  HAL_UART_Transmit(&huart2, (uint8_t *)RxData,2,0xFFFF);
//
//		  HAL_FDCAN_ActivateNotification(&hfdcan1,FDCAN_IT_RX_FIFO0_NEW_MESSAGE,0);
//	  }
	  if(hfdcan == &hfdcan2)//CANFD2中断
	  {
		  HAL_FDCAN_GetRxMessage(&hfdcan2,FDCAN_RX_FIFO0,&RxHeader2,RxData2);

		  HAL_UART_Transmit(&huart2, (uint8_t *)head_buf,2,0xFFFF);//

		  if(RUN_KEY == 0)				//240308 add KEY1
			  control_buf[0] &= 0xFE;
		  else
			  control_buf[0] |= 0x01;

		  if(STOP_KEY == 0)				//240308 add KEY2
			  control_buf[0] &= 0xFD;
		  else
			  control_buf[0] |= 0x02;

		  if(DI3_BUTTON == 0)			//240308 add KEY3
			  control_buf[0] &= 0xFB;
		  else
			  control_buf[0] |= 0x04;

		  if(DI4_BUTTON == 0)			//240308 add KEY4
			  control_buf[0] &= 0xF7;
		  else
			  control_buf[0] |= 0x08;

		  if(DI_POW == 0)				//240308 add POW
			  control_buf[0] &= 0xEF;
		  else
			  control_buf[0] |= 0x10;

		  if(DI_IPC == 0)				//240308 add IPC/POW2
			  control_buf[0] &= 0xDF;
		  else
			  control_buf[0] |= 0x20;

		  if(DI_ES == 0)				//240308 add ES
			  control_buf[0] &= 0xBF;
		  else
			  control_buf[0] |= 0x40;

		  HAL_UART_Transmit(&huart2, (uint8_t *)control_buf,1,0xFFFF);//状�??
		  for(int i=0;i<3;i++)
		  {
			  if(RxData2[i]==0x80)
			  {
				  HAL_UART_Transmit(&huart2, (uint8_t *)special_buf,2,0xFFFF);
			  }
			  else
			  {
				  HAL_UART_Transmit(&huart2, (uint8_t *)&RxData2[i],1,0xFFFF);
			  }
		  }
		  HAL_UART_Transmit(&huart2, (uint8_t *)end_buf,2,0xFFFF);

		  //HAL_UART_Transmit(&huart2, (uint8_t *)RxData2,3,0xFFFF);

		  HAL_FDCAN_ActivateNotification(&hfdcan2,FDCAN_IT_RX_FIFO0_NEW_MESSAGE,0);
	  }
  }

}

//定时器中断回调函�?
uint32_t tim3cnt=0;
uint32_t tim3cnt_greenLed=0;
uint32_t tim3cnt_redLed=0;
//uint8_t temp_buf[8]={0};
void HAL_TIM_PeriodElapsedCallback(TIM_HandleTypeDef *htim)
{
	if(htim == &htim4)
	{
		LED1_T;
	}
	if(htim == &htim3)
	{
		//temp_buf[0]++;
		//CAN2_MESSAGE_TX(temp_buf);
		tim3cnt++;
		if(tim3cnt==500)
		{
			//DO4_T;
			tim3cnt=0;
		}

		if(greenLed_twinkle==1)//绿灯�?
		{
			tim3cnt_greenLed++;
			if(tim3cnt_greenLed==300)
			{
				RUN_LED_T;
				tim3cnt_greenLed=0;
			}
		}

		if(redLed_twinkle==1)//红灯�?
		{
			tim3cnt_redLed++;
			if(tim3cnt_redLed==300)
			{
				STOP_LED_T;
				tim3cnt_redLed=0;
			}
		}

		skey.u32time1++;
		skey.u32time2++;
	}
}

void key_scan()
{
    static uint8_t press = 0;

    if(RUN_KEY==0)//按钮按下
    {
    	HAL_Delay(10);
        if(RUN_KEY==0)
        {
            if(skey.u8key_flag==0)
            {
                skey.u8key_flag=1;
                skey.u32time1=0;
            }
            else if(skey.u8key_flag==1)
            {
                if(!press && skey.u32time1 > 3000)
                {
                    press = 1;
                    long_click_flag=1;
                    //DO4_T;
                    //return LONG_PRES;//长按
                }
            }
        }
    }
    else if(RUN_KEY==1)
    {
        if(skey.u8key_flag==1)
        {
            skey.u8key_flag=0;
            if(skey.u32time1>3000)
            {
                press = 0;
                skey.u32time1 = 0;
                skey.u32time2 = 0;
                skey.u8key_flag=0;
                skey.u8key_double_flag=0;
            }
            else if(skey.u8key_double_flag==0)
            {
                skey.u8key_double_flag=1;
                skey.u32time2=0;
            }
            else if(skey.u8key_double_flag==1)
            {
                if(skey.u32time2<500)
                {
                    skey.u8key_double_flag=0;
                    double_click_flag=1;
                    //DO4_T;
                    //return DOUBLE_PRES;//双击
                }
            }
        }
        else if(skey.u8key_double_flag==1)
        {
            if(skey.u32time2>=500)
            {
                skey.u8key_double_flag=0;
                single_click_flag=1;
                //DO4_T;
                //return single_PRES;//单击
            }
        }
    }
    //return 0;//无按�?
}

//软件复位函数
void System_Reset(void)
{
	__set_FAULTMASK(1); //关闭所有中断
	NVIC_SystemReset(); //进行软件复位
}

/* USER CODE END 4 */

void Error_Handler(void)
{
  __disable_irq();
  while (1)
  {
  }
}

/************************ (C) COPYRIGHT STMicroelectronics *****END OF FILE****/
